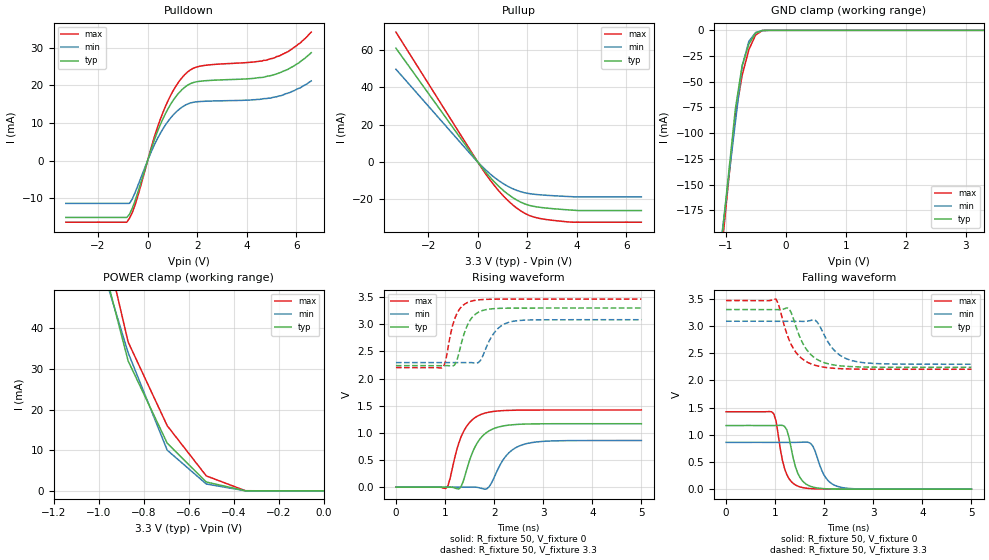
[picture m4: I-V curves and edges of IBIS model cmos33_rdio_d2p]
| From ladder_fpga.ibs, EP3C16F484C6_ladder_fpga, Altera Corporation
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[Model] cmos33_rdio_d2p
Model_type I/O
Polarity Non-Inverting
Enable Active-Low
Vinl  = 0.8V
Vinh  = 1.7V
Vmeas = 1.5425V
Rref  = 10M
Cref  = 0pF
Vref  = 0V
C_comp  5.0pF   5.0pF   5.0pF
[Temperature Range] 25   85   0
[Voltage Range]   3.3   3.085   3.465
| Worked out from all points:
|   slope of the pulldown table from 0 to 0.495 V, typ, clamps not added: 53.2 ohm
|   slope of the pullup table from 0 to 0.495 V, typ, clamps not added: 60.7 ohm
|   GND clamp passes 1 mA (typ) near -0.43 V on its own axis
|   POWER clamp passes 1 mA (typ) near -0.43 V on its own axis
|   rising waveform, R_fixture 50, V_fixture 0: 20-80 % time 344ps typ, 377ps min, 319ps max; typ from 0 V to 1.17 V
|   falling waveform, R_fixture 50, V_fixture 0: 20-80 % time 209ps typ, 247ps min, 193ps max; typ from 1.17 V to 0 V
|   rising waveform, R_fixture 50, V_fixture 3.3: 20-80 % time 242ps typ, 298ps min, 213ps max; typ from 2.24 V to 3.3 V
|   falling waveform, R_fixture 50, V_fixture 3.3: 20-80 % time 365ps typ, 386ps min, 355ps max; typ from 3.3 V to 2.24 V
[GND Clamp]
| voltage   I (typ)   I (min)   I (max)
-3.3V     -1.449A    -1.286A    -1.533A
-1.063V   -200.8mA   -197.7mA   -211mA
-950.8mV  -138.4mA   -143.3mA   -144.9mA
-839mV    -75.96mA   -88.9mA    -82.12mA
-727.1mV  -34.33mA   -34.92mA   -43.75mA
-615.2mV  -13.39mA   -10.72mA   -18.82mA
-503.4mV  -2.65mA    -2.136mA   -4.609mA
-391.5mV  -131.9uA   -144.3uA   -303.1uA
-279.7mV  -2.495uA   -5.275uA   -4.791uA
3.3V      0A         0A         0A
[Pulldown]
| voltage   I (typ)   I (min)   I (max)
-3.3V     -15.12mA   -11.37mA   -16.38mA
-839mV    -15.12mA   -11.37mA   -16.38mA
-727.1mV  -14.23mA   -11.37mA   -15.27mA
-503.4mV  -10.65mA   -8.483mA   -11.78mA
167.8mV   3.512mA    2.673mA    4.016mA
615.2mV   11.09mA    8.423mA    12.78mA
1.063V    16.35mA    12.36mA    18.98mA
1.622V    20.12mA    15.08mA    23.63mA
2.293V    21.24mA    15.79mA    25.33mA
5.124V    22.9mA     16.89mA    27.38mA
5.818V    24.89mA    18.38mA    29.69mA
6.6V      28.7mA     21.2mA     34.2mA
[POWER Clamp]
| voltage   I (typ)   I (min)   I (max)
-3.3V     540.7mA    475.5mA    598.1mA
-1.042V   69.25mA    65.55mA    77.81mA
-868.4mV  31.96mA    33.97mA    36.61mA
-694.7mV  11.73mA    10.02mA    16.03mA
-521.1mV  2.195mA    1.705mA    3.697mA
-347.4mV  26.63uA    39.34uA    52.6uA
0V        0A         0A         0A
[Pullup]
| voltage   I (typ)   I (min)   I (max)
-3.3V     60.92mA    49.65mA    69.53mA
-347.4mV  6.359mA    5.09mA     7.299mA
173.7mV   -3.034mA   -2.372mA   -3.54mA
521.1mV   -8.549mA   -6.62mA    -10.05mA
868.4mV   -13.29mA   -10.18mA   -15.77mA
1.216V    -17.23mA   -13.03mA   -20.63mA
1.563V    -20.31mA   -15.15mA   -24.59mA
1.911V    -22.5mA    -16.53mA   -27.58mA
2.258V    -23.75mA   -17.25mA   -29.47mA
3.126V    -25.11mA   -18.12mA   -31.39mA
3.803V    -25.77mA   -18.58mA   -32.23mA
6.6V      -26.01mA   -18.73mA   -32.23mA
[Ramp]
dV/dt_r   7.014e-001/3.440e-010  5.159e-001/3.771e-010  8.532e-001/3.191e-010
dV/dt_f   6.366e-001/3.652e-010  4.740e-001/3.860e-010  7.572e-001/3.546e-010
R_load = 50ohms
[Rising Waveform]
R_fixture   = 50
V_fixture   = 0
V_fixture_min = 0
V_fixture_max = 0
| time   V (typ)   V (min)   V (max)
0s        0V         0V         0V
1.016ns   -216uV     -185.1uV   -23.66mV
1.282ns   -33.19mV   -229.8uV   815mV
1.37ns    105.3mV    -288.2uV   1.012V
1.548ns   613.8mV    1.226mV    1.235V
1.769ns   946.7mV    -27.4mV    1.352V
1.902ns   1.039V     12.26mV    1.382V
2.256ns   1.138V     590.6mV    1.414V
2.611ns   1.162V     790.2mV    1.42V
5ns       1.169V     859.9mV    1.422V
[Falling Waveform]
R_fixture   = 50
V_fixture   = 0
V_fixture_min = 0
V_fixture_max = 0
| time   V (typ)   V (min)   V (max)
0s        1.169V     859.9mV    1.422V
971.5ps   1.169V     860mV      1.387V
1.016ns   1.17V      859.9mV    1.264V
1.193ns   1.153V     859.8mV    375.9mV
1.326ns   754.1mV    859.9mV    141.5mV
1.503ns   218.9mV    861mV      42.79mV
1.725ns   50.72mV    838mV      10.39mV
2.035ns   7.433mV    205.3mV    1.497mV
2.301ns   1.473mV    42.98mV    283.9uV
5ns       4.653uV    7.59uV     3.099uV
[Rising Waveform]
R_fixture   = 50
V_fixture   = 3.3
V_fixture_min = 3.085
V_fixture_max = 3.465
| time   V (typ)   V (min)   V (max)
0s        2.239V     2.295V     2.203V
971.5ps   2.238V     2.295V     2.222V
1.149ns   2.23V      2.295V     2.959V
1.237ns   2.32V      2.295V     3.188V
1.415ns   2.894V     2.295V     3.381V
1.548ns   3.122V     2.294V     3.43V
1.725ns   3.241V     2.337V     3.454V
2.079ns   3.293V     2.923V     3.463V
2.345ns   3.298V     3.048V     3.464V
5ns       3.3V       3.085V     3.465V
[Falling Waveform]
R_fixture   = 50
V_fixture   = 3.3
V_fixture_min = 3.085
V_fixture_max = 3.465
| time   V (typ)   V (min)   V (max)
0s        3.3V       3.085V     3.465V
1.016ns   3.299V     3.084V     3.493V
1.06ns    3.298V     3.084V     3.416V
1.282ns   3.317V     3.084V     2.749V
1.37ns    3.136V     3.084V     2.587V
1.592ns   2.633V     3.083V     2.368V
1.813ns   2.408V     3.105V     2.276V
2.212ns   2.28V      2.544V     2.22V
2.567ns   2.251V     2.362V     2.207V
5ns       2.239V     2.295V     2.203V
